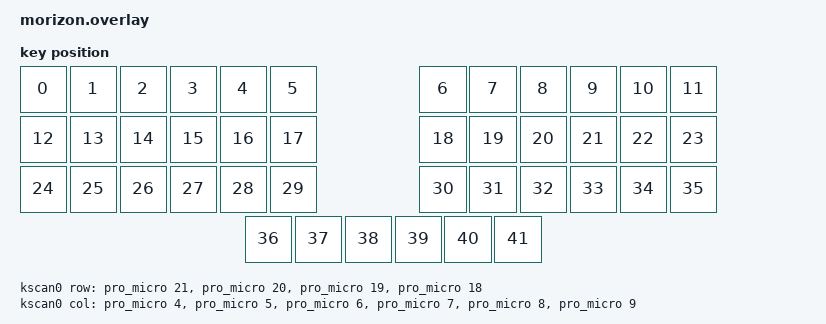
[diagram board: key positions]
#include <dt-bindings/zmk/matrix_transform.h>
#include "physical_layouts.dtsi"

/ {
    chosen {
        zmk,kscan = &kscan0;
        zmk,physical-layout = &morizon_layout;
    };

    morizon_layout: morizon_layout {
        compatible = "zmk,physical-layout";
        display-name = "Morizon";
        
        keys  //                     w   h    x    y     rot   rx   ry
            = <&key_physical_attrs 100 100    0    0       0    0    0>
            , <&key_physical_attrs 100 100  100    0       0    0    0>
            , <&key_physical_attrs 100 100  200    0       0    0    0>
            , <&key_physical_attrs 100 100  300    0       0    0    0>
            , <&key_physical_attrs 100 100  400    0       0    0    0>
            , <&key_physical_attrs 100 100  500    0       0    0    0>
            , <&key_physical_attrs 100 100  800    0       0    0    0>
            , <&key_physical_attrs 100 100  900    0       0    0    0>
            , <&key_physical_attrs 100 100 1000    0       0    0    0>
            , <&key_physical_attrs 100 100 1100    0       0    0    0>
            , <&key_physical_attrs 100 100 1200    0       0    0    0>
            , <&key_physical_attrs 100 100 1300    0       0    0    0>
            , <&key_physical_attrs 100 100    0  100       0    0    0>
            , <&key_physical_attrs 100 100  100  100       0    0    0>
            , <&key_physical_attrs 100 100  200  100       0    0    0>
            , <&key_physical_attrs 100 100  300  100       0    0    0>
            , <&key_physical_attrs 100 100  400  100       0    0    0>
            , <&key_physical_attrs 100 100  500  100       0    0    0>
            , <&key_physical_attrs 100 100  800  100       0    0    0>
            , <&key_physical_attrs 100 100  900  100       0    0    0>
            , <&key_physical_attrs 100 100 1000  100       0    0    0>
            , <&key_physical_attrs 100 100 1100  100       0    0    0>
            , <&key_physical_attrs 100 100 1200  100       0    0    0>
            , <&key_physical_attrs 100 100 1300  100       0    0    0>
            , <&key_physical_attrs 100 100    0  200       0    0    0>
            , <&key_physical_attrs 100 100  100  200       0    0    0>
            , <&key_physical_attrs 100 100  200  200       0    0    0>
            , <&key_physical_attrs 100 100  300  200       0    0    0>
            , <&key_physical_attrs 100 100  400  200       0    0    0>
            , <&key_physical_attrs 100 100  500  200       0    0    0>
            , <&key_physical_attrs 100 100  800  200       0    0    0>
            , <&key_physical_attrs 100 100  900  200       0    0    0>
            , <&key_physical_attrs 100 100 1000  200       0    0    0>
            , <&key_physical_attrs 100 100 1100  200       0    0    0>
            , <&key_physical_attrs 100 100 1200  200       0    0    0>
            , <&key_physical_attrs 100 100 1300  200       0    0    0>
            , <&key_physical_attrs 100 100  450  300       0    0    0>
            , <&key_physical_attrs 100 100  550  300       0    0    0>
            , <&key_physical_attrs 100 100  650  300       0    0    0>
            , <&key_physical_attrs 100 100  750  300       0    0    0>
            , <&key_physical_attrs 100 100  850  300       0    0    0>
            , <&key_physical_attrs 100 100  950  300       0    0    0>
            ;
    };

    kscan0: kscan {
        compatible = "zmk,kscan-gpio-matrix";
        wakeup-source;

        col-gpios
            = <&pro_micro 4 GPIO_ACTIVE_HIGH>
            , <&pro_micro 5 GPIO_ACTIVE_HIGH>
            , <&pro_micro 6 GPIO_ACTIVE_HIGH>
            , <&pro_micro 7 GPIO_ACTIVE_HIGH>
            , <&pro_micro 8 GPIO_ACTIVE_HIGH>
            , <&pro_micro 9 GPIO_ACTIVE_HIGH>
            ;

        row-gpios
            = <&pro_micro 21 (GPIO_ACTIVE_HIGH | GPIO_PULL_DOWN)>
            , <&pro_micro 20 (GPIO_ACTIVE_HIGH | GPIO_PULL_DOWN)>
            , <&pro_micro 19 (GPIO_ACTIVE_HIGH | GPIO_PULL_DOWN)>
            , <&pro_micro 18 (GPIO_ACTIVE_HIGH | GPIO_PULL_DOWN)>
            ;
    };
};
